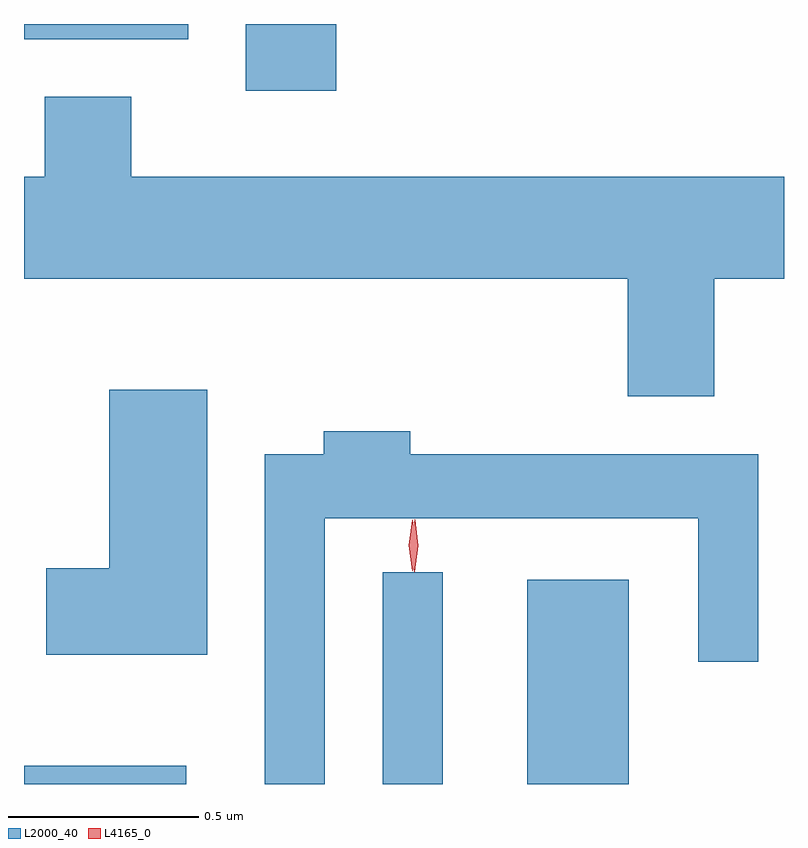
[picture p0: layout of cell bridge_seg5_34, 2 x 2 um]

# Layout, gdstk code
import gdstk
lib = gdstk.Library(unit=1e-6, precision=1e-09)
def R(c, l, rs):  # rectangles x0, y0, x1, y1
    for r in rs: c.add(gdstk.rectangle(r[:2], r[2:], *l))
def P(c, l, *ps):  # polygons
    for p in ps: c.add(gdstk.Polygon(p, *l))
L2000_40 = (2000, 40)
L4165_0 = (4165, 0)

bridge_seg5_34 = lib.new_cell('bridge_seg5_34')
R(bridge_seg5_34, L2000_40, [(1330.222,1475.446,1330.649,1475.494), (1331.166,1475.446,1331.324,1476.003), (1331.546,1475.446,1331.814,1475.984), (1330.806,1477.271,1331.044,1477.446), (1330.222,1477.406,1330.654,1477.446)])
P(bridge_seg5_34, L2000_40, [(1332.039,1476.776),(1332.222,1476.776),(1332.222,1477.044),(1330.504,1477.044),(1330.504,1477.254),(1330.276,1477.254),(1330.276,1477.044),(1330.222,1477.044),(1330.222,1476.776),(1331.811,1476.776),(1331.811,1476.466),(1332.039,1476.466)],
  [(1330.704,1476.484),(1330.446,1476.484),(1330.446,1476.014),(1330.281,1476.014),(1330.281,1475.786),(1330.704,1475.786)],
  [(1331.014,1476.146),(1331.996,1476.146),(1331.996,1475.768),(1332.154,1475.768),(1332.154,1476.314),(1331.239,1476.314),(1331.239,1476.374),(1331.011,1476.374),(1331.011,1476.314),(1330.856,1476.314),(1330.856,1475.446),(1331.014,1475.446)])
P(bridge_seg5_34, L4165_0, [(1331.25,1476.003),(1331.249,1476.004),(1331.24,1476.073),(1331.25,1476.142),(1331.25,1476.143),(1331.251,1476.142),(1331.26,1476.073),(1331.25,1476.004)],
  [(1331.244,1476.007),(1331.235,1476.074),(1331.244,1476.14),(1331.245,1476.141),(1331.245,1476.14),(1331.255,1476.074),(1331.245,1476.007),(1331.245,1476.007)])

lib.write_gds('bridge_seg5_34.gds')
